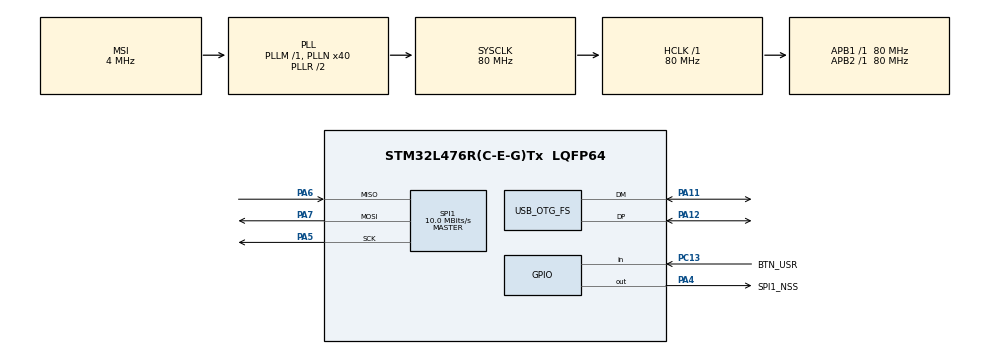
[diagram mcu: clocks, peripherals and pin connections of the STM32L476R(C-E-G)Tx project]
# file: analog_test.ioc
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Mcu.Family=STM32L4
Mcu.Name=STM32L476R(C-E-G)Tx
Mcu.Package=LQFP64
NVIC.OTG_FS_IRQn=true\:0\:0\:false\:false\:true\:false
NVIC.PriorityGroup=NVIC_PRIORITYGROUP_4
NVIC.TIM3_IRQn=true\:0\:0\:false\:false\:true\:true
PA11.Mode=Device_Only
PA11.Signal=USB_OTG_FS_DM
PA12.Mode=Device_Only
PA12.Signal=USB_OTG_FS_DP
PA13\ (JTMS-SWDIO).Mode=Trace_Asynchronous_SW
PA13\ (JTMS-SWDIO).Signal=SYS_JTMS-SWDIO
PA14\ (JTCK-SWCLK).Mode=Trace_Asynchronous_SW
PA14\ (JTCK-SWCLK).Signal=SYS_JTCK-SWCLK
PA4.GPIO_Label=SPI1_NSS
PA4.GPIO_PuPd=GPIO_NOPULL
PA4.GPIO_Speed=GPIO_SPEED_FREQ_VERY_HIGH
PA4.PinState=GPIO_PIN_SET
PA4.Signal=GPIO_Output
PA5.Mode=Full_Duplex_Master
PA5.Signal=SPI1_SCK
PA6.Mode=Full_Duplex_Master
PA6.Signal=SPI1_MISO
PA7.Mode=Full_Duplex_Master
PA7.Signal=SPI1_MOSI
PB3\ (JTDO-TRACESWO).Mode=Trace_Asynchronous_SW
PB3\ (JTDO-TRACESWO).Signal=SYS_JTDO-SWO
PC13.GPIO_Label=BTN_USR
PC13.Signal=GPIO_Input
PC14-OSC32_IN\ (PC14).Mode=LSE-External-Oscillator
PC14-OSC32_IN\ (PC14).Signal=RCC_OSC32_IN
PC15-OSC32_OUT\ (PC15).Mode=LSE-External-Oscillator
PC15-OSC32_OUT\ (PC15).Signal=RCC_OSC32_OUT
ProjectManager.HeapSize=0x200
ProjectManager.StackSize=0x400
ProjectManager.TargetToolchain=SW4STM32
RCC.ADCFreq_Value=48000000
RCC.AHBFreq_Value=80000000
RCC.APB1Freq_Value=80000000
RCC.APB1TimFreq_Value=80000000
RCC.APB2Freq_Value=80000000
RCC.APB2TimFreq_Value=80000000
RCC.CortexFreq_Value=80000000
RCC.HCLKFreq_Value=80000000
RCC.HSE_VALUE=8000000
RCC.HSI_VALUE=16000000
RCC.MSI_VALUE=4000000
RCC.PLLN=40
RCC.PLLSAI1N=24
RCC.SYSCLKFreq_VALUE=80000000
RCC.SYSCLKSource=RCC_SYSCLKSOURCE_PLLCLK
RCC.USBFreq_Value=48000000
RCC.VCOOutputFreq_Value=160000000
SPI1.BaudRatePrescaler=SPI_BAUDRATEPRESCALER_8
SPI1.CalculateBaudRate=10.0 MBits/s
SPI1.DataSize=SPI_DATASIZE_16BIT
SPI1.Direction=SPI_DIRECTION_2LINES
SPI1.Mode=SPI_MODE_MASTER
SPI1.NSSPMode=SPI_NSS_PULSE_DISABLE
SPI1.TIMode=SPI_TIMODE_DISABLE
SPI1.VirtualType=VM_MASTER
TIM3.Period=9
TIM3.Prescaler=799
USB_DEVICE.CLASS_NAME_FS=CDC
USB_DEVICE.MANUFACTURER_STRING=Yandex, LLC
USB_DEVICE.PRODUCT_STRING_CDC_FS=VoltaBox_v5
USB_DEVICE.USBD_SELF_POWERED=0
USB_DEVICE.VirtualMode=Cdc
USB_DEVICE.VirtualModeFS=Cdc_FS
USB_OTG_FS.VirtualMode=Device_Only
VP_TIM3_VS_ClockSourceINT.Mode=Internal
VP_USB_DEVICE_VS_USB_DEVICE_CDC_FS.Mode=CDC_FS
board=custom

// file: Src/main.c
/**
  ******************************************************************************
  * @file           : main.c
  * @brief          : Main program body
  ******************************************************************************
  * This notice applies to any and all portions of this file
  * that are not between comment pairs USER CODE BEGIN and
  * USER CODE END. Other portions of this file, whether
  * inserted by the user or by software development tools
  * are owned by their respective copyright owners.
  *
  * Copyright (c) 2018 STMicroelectronics International N.V.
  * All rights reserved.
  *
  * Redistribution and use in source and binary forms, with or without
  * modification, are permitted, provided that the following conditions are met:
  *
  * 1. Redistribution of source code must retain the above copyright notice,
  *    this list of conditions and the following disclaimer.
  * 2. Redistributions in binary form must reproduce the above copyright notice,
  *    this list of conditions and the following disclaimer in the documentation
  *    and/or other materials provided with the distribution.
  * 3. Neither the name of STMicroelectronics nor the names of other
  *    contributors to this software may be used to endorse or promote products
  *    derived from this software without specific written permission.
  * 4. This software, including modifications and/or derivative works of this
  *    software, must execute solely and exclusively on microcontroller or
  *    microprocessor devices manufactured by or for STMicroelectronics.
  * 5. Redistribution and use of this software other than as permitted under
  *    this license is void and will automatically terminate your rights under
  *    this license.
  *
  * THIS SOFTWARE IS PROVIDED BY STMICROELECTRONICS AND CONTRIBUTORS "AS IS"
  * AND ANY EXPRESS, IMPLIED OR STATUTORY WARRANTIES, INCLUDING, BUT NOT
  * LIMITED TO, THE IMPLIED WARRANTIES OF MERCHANTABILITY, FITNESS FOR A
  * PARTICULAR PURPOSE AND NON-INFRINGEMENT OF THIRD PARTY INTELLECTUAL PROPERTY
  * RIGHTS ARE DISCLAIMED TO THE FULLEST EXTENT PERMITTED BY LAW. IN NO EVENT
  * SHALL STMICROELECTRONICS OR CONTRIBUTORS BE LIABLE FOR ANY DIRECT, INDIRECT,
  * INCIDENTAL, SPECIAL, EXEMPLARY, OR CONSEQUENTIAL DAMAGES (INCLUDING, BUT NOT
  * LIMITED TO, PROCUREMENT OF SUBSTITUTE GOODS OR SERVICES; LOSS OF USE, DATA,
  * OR PROFITS; OR BUSINESS INTERRUPTION) HOWEVER CAUSED AND ON ANY THEORY OF
  * LIABILITY, WHETHER IN CONTRACT, STRICT LIABILITY, OR TORT (INCLUDING
  * NEGLIGENCE OR OTHERWISE) ARISING IN ANY WAY OUT OF THE USE OF THIS SOFTWARE,
  * EVEN IF ADVISED OF THE POSSIBILITY OF SUCH DAMAGE.
  *
  ******************************************************************************
  */
#include "main.h"
#include "stm32l4xx_hal.h"
#include "usb_device.h"

/* USER CODE BEGIN Includes */
#include "usbd_cdc_if.h"
#include "buffer.h"

#define SENDBUF_SIZE RINGBUF_SIZE/2
/* USER CODE END Includes */

SPI_HandleTypeDef hspi1;

TIM_HandleTypeDef htim3;

/* USER CODE BEGIN PV */
/* Private variables ---------------------------------------------------------*/
const uint8_t cmd_read_current[] = {0x03, 0x82, 0x00, 0x00};
const uint8_t cmd_read_voltage[] = {0x01, 0x82, 0x00, 0x00};
struct ringbuf_t rb;
/* USER CODE END PV */

void SystemClock_Config(void);
static void MX_GPIO_Init(void);
static void MX_SPI1_Init(void);
static void MX_TIM3_Init(void);

/* USER CODE BEGIN PFP */
/* Private function prototypes -----------------------------------------------*/

/* USER CODE END PFP */

/* USER CODE BEGIN 0 */
void HAL_TIM_PeriodElapsedCallback(TIM_HandleTypeDef *htim) {
  if (htim->Instance == TIM3) {
    HAL_StatusTypeDef status;
    uint8_t receive_buffer[] = {0x00, 0x00, 0x00, 0x00};

    HAL_GPIO_WritePin(SPI1_NSS_GPIO_Port, SPI1_NSS_Pin, GPIO_PIN_RESET);
    status = HAL_SPI_TransmitReceive(&hspi1, cmd_read_current, receive_buffer, 2, HAL_MAX_DELAY);
    HAL_GPIO_WritePin(SPI1_NSS_GPIO_Port, SPI1_NSS_Pin, GPIO_PIN_SET);
    uint16_t current_value = ((uint16_t) receive_buffer[2] << 8) + (uint16_t) receive_buffer[3];
    HAL_GPIO_WritePin(SPI1_NSS_GPIO_Port, SPI1_NSS_Pin, GPIO_PIN_RESET);
    status = HAL_SPI_TransmitReceive(&hspi1, cmd_read_voltage, receive_buffer, 2, HAL_MAX_DELAY);
    HAL_GPIO_WritePin(SPI1_NSS_GPIO_Port, SPI1_NSS_Pin, GPIO_PIN_SET);
    uint16_t voltage_value = ((uint16_t) receive_buffer[2] << 8) + (uint16_t) receive_buffer[3];
    if(status == HAL_OK) {
      rb_push(&rb, current_value);
      rb_push(&rb, voltage_value);
    }
  }
}
/* USER CODE END 0 */

int main(void)
{
  /* USER CODE BEGIN 1 */
  uint16_t buff[16];
  rb_init(&rb);

  /* USER CODE END 1 */

  /* MCU Configuration----------------------------------------------------------*/

  /* Reset of all peripherals, Initializes the Flash interface and the Systick. */
  HAL_Init();

  /* Configure the system clock */
  SystemClock_Config();

  /* Initialize all configured peripherals */
  MX_GPIO_Init();
  MX_SPI1_Init();
  MX_USB_DEVICE_Init();
  MX_TIM3_Init();
  /* USER CODE BEGIN 2 */

	// wait USB enumeration
  HAL_Delay(1000);

  HAL_TIM_Base_Start_IT(&htim3);

  /* USER CODE END 2 */

  /* Infinite loop */
  while (1)
  {

  /* USER CODE BEGIN 3 */
    if (rb_remain(&rb) > SENDBUF_SIZE) {
        for (int i = 0; i < SENDBUF_SIZE; i++) buff[i] = rb_pop(&rb);
        while (CDC_Transmit_FS((uint8_t*) buff, sizeof(buff)) == USBD_BUSY);
    }
  }
  /* USER CODE END 3 */

}

void SystemClock_Config(void)
{

  RCC_OscInitTypeDef RCC_OscInitStruct;
  RCC_ClkInitTypeDef RCC_ClkInitStruct;
  RCC_PeriphCLKInitTypeDef PeriphClkInit;

    /**Configure LSE Drive Capability
    */
  HAL_PWR_EnableBkUpAccess();

  __HAL_RCC_LSEDRIVE_CONFIG(RCC_LSEDRIVE_LOW);

    /**Initializes the CPU, AHB and APB busses clocks
    */
  RCC_OscInitStruct.OscillatorType = RCC_OSCILLATORTYPE_LSE|RCC_OSCILLATORTYPE_MSI;
  RCC_OscInitStruct.LSEState = RCC_LSE_ON;
  RCC_OscInitStruct.MSIState = RCC_MSI_ON;
  RCC_OscInitStruct.MSICalibrationValue = 0;
  RCC_OscInitStruct.MSIClockRange = RCC_MSIRANGE_6;
  RCC_OscInitStruct.PLL.PLLState = RCC_PLL_ON;
  RCC_OscInitStruct.PLL.PLLSource = RCC_PLLSOURCE_MSI;
  RCC_OscInitStruct.PLL.PLLM = 1;
  RCC_OscInitStruct.PLL.PLLN = 40;
  RCC_OscInitStruct.PLL.PLLP = RCC_PLLP_DIV7;
  RCC_OscInitStruct.PLL.PLLQ = RCC_PLLQ_DIV2;
  RCC_OscInitStruct.PLL.PLLR = RCC_PLLR_DIV2;
  if (HAL_RCC_OscConfig(&RCC_OscInitStruct) != HAL_OK)
  {
    _Error_Handler(__FILE__, __LINE__);
  }

    /**Initializes the CPU, AHB and APB busses clocks
    */
  RCC_ClkInitStruct.ClockType = RCC_CLOCKTYPE_HCLK|RCC_CLOCKTYPE_SYSCLK
                              |RCC_CLOCKTYPE_PCLK1|RCC_CLOCKTYPE_PCLK2;
  RCC_ClkInitStruct.SYSCLKSource = RCC_SYSCLKSOURCE_PLLCLK;
  RCC_ClkInitStruct.AHBCLKDivider = RCC_SYSCLK_DIV1;
  RCC_ClkInitStruct.APB1CLKDivider = RCC_HCLK_DIV1;
  RCC_ClkInitStruct.APB2CLKDivider = RCC_HCLK_DIV1;

  if (HAL_RCC_ClockConfig(&RCC_ClkInitStruct, FLASH_LATENCY_4) != HAL_OK)
  {
    _Error_Handler(__FILE__, __LINE__);
  }

  PeriphClkInit.PeriphClockSelection = RCC_PERIPHCLK_USB;
  PeriphClkInit.UsbClockSelection = RCC_USBCLKSOURCE_PLLSAI1;
  PeriphClkInit.PLLSAI1.PLLSAI1Source = RCC_PLLSOURCE_MSI;
  PeriphClkInit.PLLSAI1.PLLSAI1M = 1;
  PeriphClkInit.PLLSAI1.PLLSAI1N = 24;
  PeriphClkInit.PLLSAI1.PLLSAI1P = RCC_PLLP_DIV7;
  PeriphClkInit.PLLSAI1.PLLSAI1Q = RCC_PLLQ_DIV2;
  PeriphClkInit.PLLSAI1.PLLSAI1R = RCC_PLLR_DIV2;
  PeriphClkInit.PLLSAI1.PLLSAI1ClockOut = RCC_PLLSAI1_48M2CLK;
  if (HAL_RCCEx_PeriphCLKConfig(&PeriphClkInit) != HAL_OK)
  {
    _Error_Handler(__FILE__, __LINE__);
  }

    /**Configure the main internal regulator output voltage
    */
  if (HAL_PWREx_ControlVoltageScaling(PWR_REGULATOR_VOLTAGE_SCALE1) != HAL_OK)
  {
    _Error_Handler(__FILE__, __LINE__);
  }

    /**Configure the Systick interrupt time
    */
  HAL_SYSTICK_Config(HAL_RCC_GetHCLKFreq()/1000);

    /**Configure the Systick
    */
  HAL_SYSTICK_CLKSourceConfig(SYSTICK_CLKSOURCE_HCLK);

    /**Enable MSI Auto calibration
    */
  HAL_RCCEx_EnableMSIPLLMode();

  /* SysTick_IRQn interrupt configuration */
  HAL_NVIC_SetPriority(SysTick_IRQn, 0, 0);
}

/* SPI1 init function */
static void MX_SPI1_Init(void)
{

  /* SPI1 parameter configuration*/
  hspi1.Instance = SPI1;
  hspi1.Init.Mode = SPI_MODE_MASTER;
  hspi1.Init.Direction = SPI_DIRECTION_2LINES;
  hspi1.Init.DataSize = SPI_DATASIZE_16BIT;
  hspi1.Init.CLKPolarity = SPI_POLARITY_LOW;
  hspi1.Init.CLKPhase = SPI_PHASE_1EDGE;
  hspi1.Init.NSS = SPI_NSS_SOFT;
  hspi1.Init.BaudRatePrescaler = SPI_BAUDRATEPRESCALER_8;
  hspi1.Init.FirstBit = SPI_FIRSTBIT_MSB;
  hspi1.Init.TIMode = SPI_TIMODE_DISABLE;
  hspi1.Init.CRCCalculation = SPI_CRCCALCULATION_DISABLE;
  hspi1.Init.CRCPolynomial = 7;
  hspi1.Init.CRCLength = SPI_CRC_LENGTH_DATASIZE;
  hspi1.Init.NSSPMode = SPI_NSS_PULSE_DISABLE;
  if (HAL_SPI_Init(&hspi1) != HAL_OK)
  {
    _Error_Handler(__FILE__, __LINE__);
  }

}

/* TIM3 init function */
static void MX_TIM3_Init(void)
{

  TIM_ClockConfigTypeDef sClockSourceConfig;
  TIM_MasterConfigTypeDef sMasterConfig;

  htim3.Instance = TIM3;
  htim3.Init.Prescaler = 799;
  htim3.Init.CounterMode = TIM_COUNTERMODE_UP;
  htim3.Init.Period = 9;
  htim3.Init.ClockDivision = TIM_CLOCKDIVISION_DIV1;
  htim3.Init.AutoReloadPreload = TIM_AUTORELOAD_PRELOAD_DISABLE;
  if (HAL_TIM_Base_Init(&htim3) != HAL_OK)
  {
    _Error_Handler(__FILE__, __LINE__);
  }

  sClockSourceConfig.ClockSource = TIM_CLOCKSOURCE_INTERNAL;
  if (HAL_TIM_ConfigClockSource(&htim3, &sClockSourceConfig) != HAL_OK)
  {
    _Error_Handler(__FILE__, __LINE__);
  }

  sMasterConfig.MasterOutputTrigger = TIM_TRGO_RESET;
  sMasterConfig.MasterSlaveMode = TIM_MASTERSLAVEMODE_DISABLE;
  if (HAL_TIMEx_MasterConfigSynchronization(&htim3, &sMasterConfig) != HAL_OK)
  {
    _Error_Handler(__FILE__, __LINE__);
  }

}

/** Configure pins as
        * Analog
        * Input
        * Output
        * EVENT_OUT
        * EXTI
*/
static void MX_GPIO_Init(void)
{

  GPIO_InitTypeDef GPIO_InitStruct;

  /* GPIO Ports Clock Enable */
  __HAL_RCC_GPIOC_CLK_ENABLE();
  __HAL_RCC_GPIOA_CLK_ENABLE();
  __HAL_RCC_GPIOB_CLK_ENABLE();

  /*Configure GPIO pin Output Level */
  HAL_GPIO_WritePin(SPI1_NSS_GPIO_Port, SPI1_NSS_Pin, GPIO_PIN_SET);

  /*Configure GPIO pin : BTN_USR_Pin */
  GPIO_InitStruct.Pin = BTN_USR_Pin;
  GPIO_InitStruct.Mode = GPIO_MODE_INPUT;
  GPIO_InitStruct.Pull = GPIO_NOPULL;
  HAL_GPIO_Init(BTN_USR_GPIO_Port, &GPIO_InitStruct);

  /*Configure GPIO pin : SPI1_NSS_Pin */
  GPIO_InitStruct.Pin = SPI1_NSS_Pin;
  GPIO_InitStruct.Mode = GPIO_MODE_OUTPUT_PP;
  GPIO_InitStruct.Pull = GPIO_NOPULL;
  GPIO_InitStruct.Speed = GPIO_SPEED_FREQ_VERY_HIGH;
  HAL_GPIO_Init(SPI1_NSS_GPIO_Port, &GPIO_InitStruct);

}

void _Error_Handler(char *file, int line)
{
  while(1)
  {
  }
}

/************************ (C) COPYRIGHT STMicroelectronics *****END OF FILE****/
